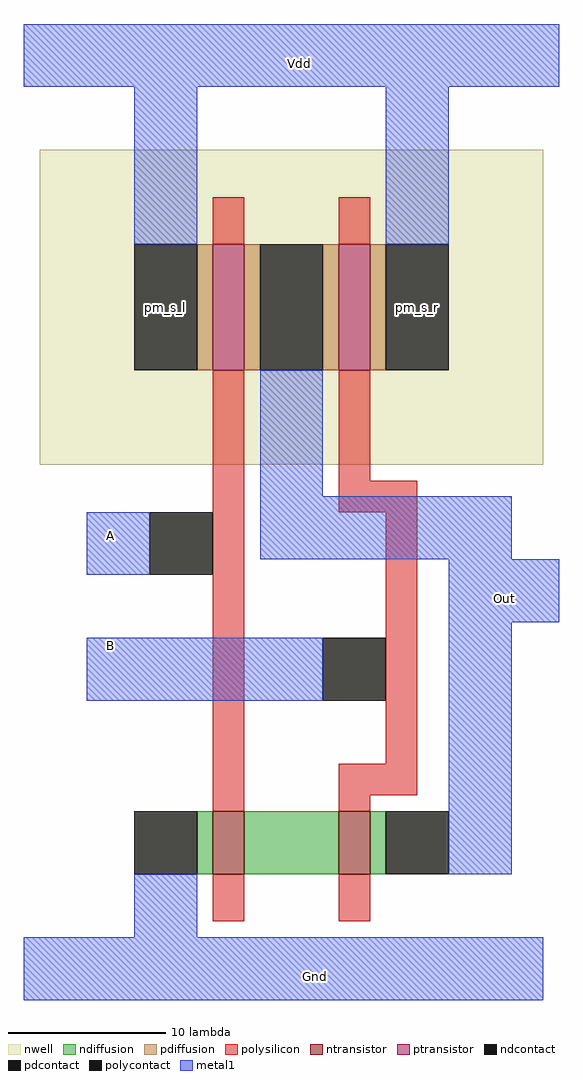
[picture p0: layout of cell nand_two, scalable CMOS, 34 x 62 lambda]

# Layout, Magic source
magic
tech scmos
<< nwell >>
rect 0 0 32 20
<< ntransistor >>
rect 11 -26 13 -22
rect 19 -26 21 -22
<< ptransistor >>
rect 11 6 13 14
rect 19 6 21 14
<< ndiffusion >>
rect 10 -26 11 -22
rect 13 -26 19 -22
rect 21 -26 22 -22
<< pdiffusion >>
rect 10 6 11 14
rect 13 6 14 14
rect 18 6 19 14
rect 21 6 22 14
<< ndcontact >>
rect 6 -26 10 -22
rect 22 -26 26 -22
<< pdcontact >>
rect 6 6 10 14
rect 14 6 18 14
rect 22 6 26 14
<< polysilicon >>
rect 11 14 13 17
rect 19 14 21 17
rect 11 -22 13 6
rect 19 -1 21 6
rect 19 -3 24 -1
rect 22 -19 24 -3
rect 19 -21 24 -19
rect 19 -22 21 -21
rect 11 -29 13 -26
rect 19 -29 21 -26
<< polycontact >>
rect 7 -7 11 -3
rect 18 -15 22 -11
<< metal1 >>
rect -1 24 33 28
rect 6 14 10 24
rect 22 14 26 24
rect 14 -2 18 6
rect 3 -7 7 -3
rect 14 -6 30 -2
rect 26 -10 33 -6
rect 3 -15 18 -11
rect 26 -26 30 -10
rect 6 -30 10 -26
rect -1 -34 32 -30
<< labels >>
rlabel metal1 4 -5 5 -4 3 A
rlabel metal1 4 -12 5 -11 3 B
rlabel metal1 29 -9 30 -8 7 Out
rlabel pdcontact 6 6 10 14 1 pm_s_l
rlabel pdcontact 22 6 26 14 1 pm_s_r
rlabel metal1 17 -33 18 -32 1 Gnd
rlabel metal1 16 25 17 26 5 Vdd
<< end >>
